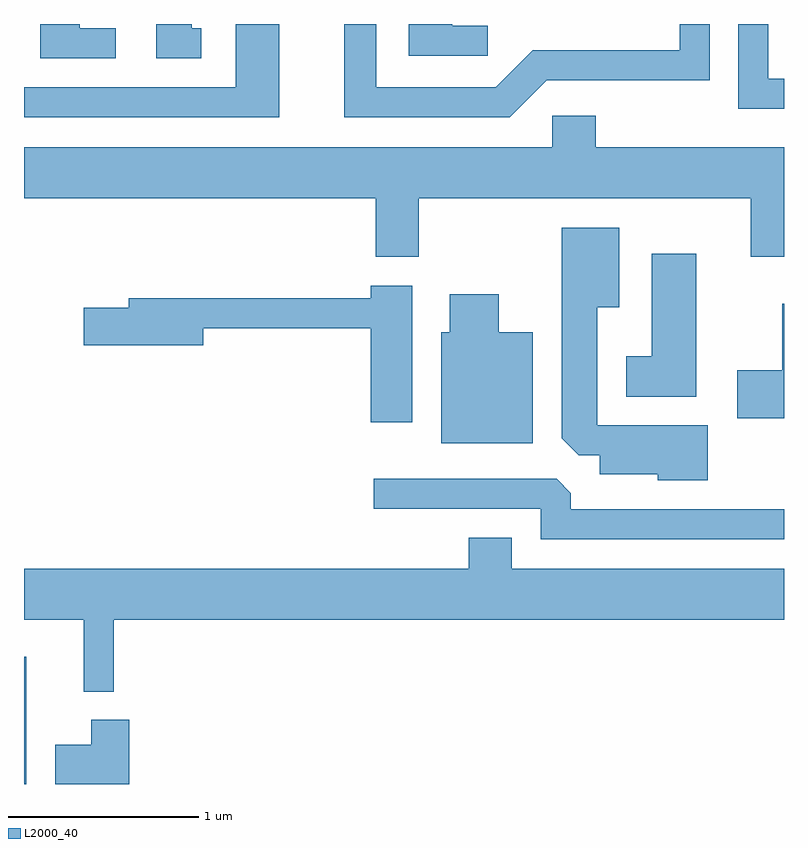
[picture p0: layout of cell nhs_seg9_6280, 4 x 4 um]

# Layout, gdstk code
import gdstk
lib = gdstk.Library(unit=1e-6, precision=1e-09)
def R(c, l, rs):  # rectangles x0, y0, x1, y1
    for r in rs: c.add(gdstk.rectangle(r[:2], r[2:], *l))
def P(c, l, *ps):  # polygons
    for p in ps: c.add(gdstk.Polygon(p, *l))
L2000_40 = (2000, 40)

nhs_seg9_6280 = lib.new_cell('nhs_seg9_6280')
R(nhs_seg9_6280, L2000_40, [(369.611,2066.432,369.624,2067.103)])
P(nhs_seg9_6280, L2000_40, [(370.093,2070.409),(369.904,2070.409),(369.904,2070.432),(369.696,2070.432),(369.696,2070.251),(370.093,2070.251)],
  [(370.954,2070.432),(370.726,2070.432),(370.726,2070.099),(369.611,2070.099),(369.611,2069.941),(370.954,2069.941)],
  [(370.543,2070.409),(370.494,2070.409),(370.494,2070.432),(370.306,2070.432),(370.306,2070.251),(370.543,2070.251)],
  [(373.611,2070.144),(373.529,2070.144),(373.529,2070.432),(373.371,2070.432),(373.371,2069.986),(373.611,2069.986)],
  [(372.053,2070.424),(371.864,2070.424),(371.864,2070.432),(371.636,2070.432),(371.636,2070.266),(372.053,2070.266)],
  [(372.362,2070.136),(373.219,2070.136),(373.219,2070.432),(373.061,2070.432),(373.061,2070.294),(372.289,2070.294),(372.094,2070.099),(371.464,2070.099),(371.464,2070.432),(371.296,2070.432),(371.296,2069.941),(372.167,2069.941)],
  [(371.689,2069.516),(373.436,2069.516),(373.436,2069.206),(373.611,2069.206),(373.611,2069.784),(372.619,2069.784),(372.619,2069.949),(372.391,2069.949),(372.391,2069.784),(369.611,2069.784),(369.611,2069.516),(371.461,2069.516),(371.461,2069.206),(371.689,2069.206)],
  [(373.209,2068.319),(372.629,2068.319),(372.629,2068.941),(372.744,2068.941),(372.744,2069.359),(372.441,2069.359),(372.441,2068.251),(372.532,2068.161),(372.641,2068.161),(372.641,2068.061),(372.946,2068.061),(372.946,2068.031),(373.209,2068.031)],
  [(373.149,2069.224),(372.916,2069.224),(372.916,2068.684),(372.781,2068.684),(372.781,2068.471),(373.149,2068.471)],
  [(371.654,2069.054),(371.436,2069.054),(371.436,2068.989),(370.161,2068.989),(370.161,2068.939),(369.926,2068.939),(369.926,2068.741),(370.554,2068.741),(370.554,2068.831),(371.436,2068.831),(371.436,2068.336),(371.654,2068.336)],
  [(372.289,2068.809),(372.109,2068.809),(372.109,2069.009),(371.851,2069.009),(371.851,2068.809),(371.806,2068.809),(371.806,2068.226),(372.289,2068.226)],
  [(373.611,2068.959),(373.601,2068.959),(373.601,2068.609),(373.366,2068.609),(373.366,2068.356),(373.611,2068.356)],
  [(373.611,2067.879),(372.489,2067.879),(372.489,2067.963),(372.414,2068.039),(371.453,2068.039),(371.453,2067.881),(372.331,2067.881),(372.331,2067.721),(373.611,2067.721)],
  [(369.611,2067.296),(369.926,2067.296),(369.926,2066.918),(370.084,2066.918),(370.084,2067.296),(373.611,2067.296),(373.611,2067.564),(372.179,2067.564),(372.179,2067.729),(371.951,2067.729),(371.951,2067.564),(369.611,2067.564)],
  [(370.164,2066.769),(369.966,2066.769),(369.966,2066.639),(369.776,2066.639),(369.776,2066.432),(370.164,2066.432)])

lib.write_gds('nhs_seg9_6280.gds')
